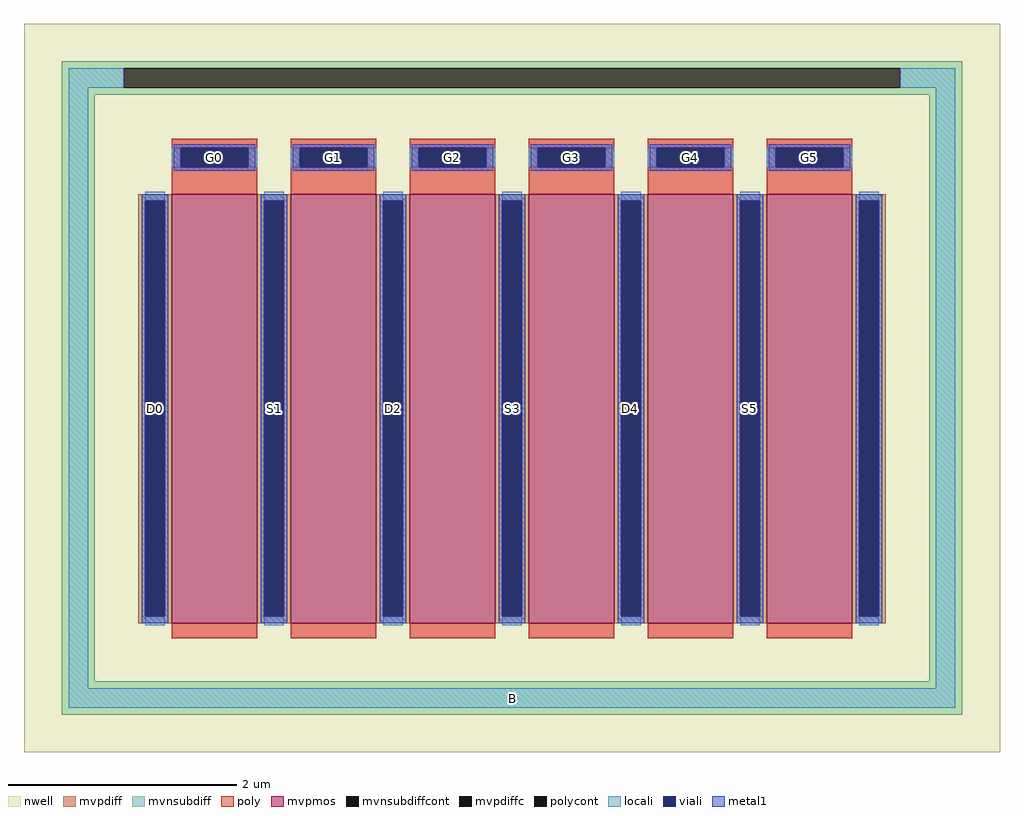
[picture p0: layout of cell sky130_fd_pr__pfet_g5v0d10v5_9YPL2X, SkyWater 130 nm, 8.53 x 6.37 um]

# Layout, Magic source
magic
tech sky130A
magscale 1 2
<< nwell >>
rect -853 -637 853 637
<< mvpmos >>
rect -595 -411 -445 339
rect -387 -411 -237 339
rect -179 -411 -29 339
rect 29 -411 179 339
rect 237 -411 387 339
rect 445 -411 595 339
<< mvpdiff >>
rect -653 327 -595 339
rect -653 -399 -641 327
rect -607 -399 -595 327
rect -653 -411 -595 -399
rect -445 327 -387 339
rect -445 -399 -433 327
rect -399 -399 -387 327
rect -445 -411 -387 -399
rect -237 327 -179 339
rect -237 -399 -225 327
rect -191 -399 -179 327
rect -237 -411 -179 -399
rect -29 327 29 339
rect -29 -399 -17 327
rect 17 -399 29 327
rect -29 -411 29 -399
rect 179 327 237 339
rect 179 -399 191 327
rect 225 -399 237 327
rect 179 -411 237 -399
rect 387 327 445 339
rect 387 -399 399 327
rect 433 -399 445 327
rect 387 -411 445 -399
rect 595 327 653 339
rect 595 -399 607 327
rect 641 -399 653 327
rect 595 -411 653 -399
<< mvpdiffc >>
rect -641 -399 -607 327
rect -433 -399 -399 327
rect -225 -399 -191 327
rect -17 -399 17 327
rect 191 -399 225 327
rect 399 -399 433 327
rect 607 -399 641 327
<< mvnsubdiff >>
rect -787 559 787 571
rect -787 525 -679 559
rect 679 525 787 559
rect -787 513 787 525
rect -787 -513 -729 513
rect 729 -513 787 513
rect -787 -571 787 -513
<< mvnsubdiffcont >>
rect -679 525 679 559
<< poly >>
rect -595 420 -445 436
rect -595 386 -579 420
rect -461 386 -445 420
rect -595 339 -445 386
rect -387 420 -237 436
rect -387 386 -371 420
rect -253 386 -237 420
rect -387 339 -237 386
rect -179 420 -29 436
rect -179 386 -163 420
rect -45 386 -29 420
rect -179 339 -29 386
rect 29 420 179 436
rect 29 386 45 420
rect 163 386 179 420
rect 29 339 179 386
rect 237 420 387 436
rect 237 386 253 420
rect 371 386 387 420
rect 237 339 387 386
rect 445 420 595 436
rect 445 386 461 420
rect 579 386 595 420
rect 445 339 595 386
rect -595 -437 -445 -411
rect -387 -437 -237 -411
rect -179 -437 -29 -411
rect 29 -437 179 -411
rect 237 -437 387 -411
rect 445 -437 595 -411
<< polycont >>
rect -579 386 -461 420
rect -371 386 -253 420
rect -163 386 -45 420
rect 45 386 163 420
rect 253 386 371 420
rect 461 386 579 420
<< locali >>
rect -775 525 -679 559
rect 679 525 775 559
rect -775 -525 -741 525
rect -595 386 -579 420
rect -461 386 -445 420
rect -387 386 -371 420
rect -253 386 -237 420
rect -179 386 -163 420
rect -45 386 -29 420
rect 29 386 45 420
rect 163 386 179 420
rect 237 386 253 420
rect 371 386 387 420
rect 445 386 461 420
rect 579 386 595 420
rect -641 327 -607 343
rect -641 -415 -607 -399
rect -433 327 -399 343
rect -433 -415 -399 -399
rect -225 327 -191 343
rect -225 -415 -191 -399
rect -17 327 17 343
rect -17 -415 17 -399
rect 191 327 225 343
rect 191 -415 225 -399
rect 399 327 433 343
rect 399 -415 433 -399
rect 607 327 641 343
rect 607 -415 641 -399
rect 741 -525 775 525
rect -775 -559 775 -525
<< viali >>
rect -579 386 -461 420
rect -371 386 -253 420
rect -163 386 -45 420
rect 45 386 163 420
rect 253 386 371 420
rect 461 386 579 420
rect -641 -399 -607 327
rect -433 -399 -399 327
rect -225 -399 -191 327
rect -17 -399 17 327
rect 191 -399 225 327
rect 399 -399 433 327
rect 607 -399 641 327
<< metal1 >>
rect -591 420 -449 426
rect -591 386 -579 420
rect -461 386 -449 420
rect -591 380 -449 386
rect -383 420 -241 426
rect -383 386 -371 420
rect -253 386 -241 420
rect -383 380 -241 386
rect -175 420 -33 426
rect -175 386 -163 420
rect -45 386 -33 420
rect -175 380 -33 386
rect 33 420 175 426
rect 33 386 45 420
rect 163 386 175 420
rect 33 380 175 386
rect 241 420 383 426
rect 241 386 253 420
rect 371 386 383 420
rect 241 380 383 386
rect 449 420 591 426
rect 449 386 461 420
rect 579 386 591 420
rect 449 380 591 386
rect -647 327 -601 339
rect -647 -399 -641 327
rect -607 -399 -601 327
rect -647 -411 -601 -399
rect -439 327 -393 339
rect -439 -399 -433 327
rect -399 -399 -393 327
rect -439 -411 -393 -399
rect -231 327 -185 339
rect -231 -399 -225 327
rect -191 -399 -185 327
rect -231 -411 -185 -399
rect -23 327 23 339
rect -23 -399 -17 327
rect 17 -399 23 327
rect -23 -411 23 -399
rect 185 327 231 339
rect 185 -399 191 327
rect 225 -399 231 327
rect 185 -411 231 -399
rect 393 327 439 339
rect 393 -399 399 327
rect 433 -399 439 327
rect 393 -411 439 -399
rect 601 327 647 339
rect 601 -399 607 327
rect 641 -399 647 327
rect 601 -411 647 -399
<< labels >>
rlabel mvnsubdiff 0 -542 0 -542 0 B
port 1 nsew
rlabel mvpdiffc -624 -36 -624 -36 0 D0
port 2 nsew
rlabel polycont -520 403 -520 403 0 G0
port 3 nsew
rlabel mvpdiffc -416 -36 -416 -36 0 S1
port 4 nsew
rlabel polycont -312 403 -312 403 0 G1
port 5 nsew
rlabel mvpdiffc -208 -36 -208 -36 0 D2
port 6 nsew
rlabel polycont -104 403 -104 403 0 G2
port 7 nsew
rlabel mvpdiffc 0 -36 0 -36 0 S3
port 8 nsew
rlabel polycont 104 403 104 403 0 G3
port 9 nsew
rlabel mvpdiffc 208 -36 208 -36 0 D4
port 10 nsew
rlabel polycont 312 403 312 403 0 G4
port 11 nsew
rlabel mvpdiffc 416 -36 416 -36 0 S5
port 12 nsew
rlabel polycont 520 403 520 403 0 G5
port 13 nsew
<< properties >>
string FIXED_BBOX -758 -542 758 542
string gencell sky130_fd_pr__pfet_g5v0d10v5
string library sky130
string parameters w 3.75 l 0.75 m 1 nf 6 diffcov 100 polycov 100 guard 1 glc 0 grc 0 gtc 1 gbc 0 tbcov 100 rlcov 100 topc 1 botc 0 poverlap 0 doverlap 1 lmin 0.50 wmin 0.42 class mosfet compatible {sky130_fd_pr__pfet_01v8  sky130_fd_pr__pfet_01v8_lvt sky130_fd_pr__pfet_01v8_hvt  sky130_fd_pr__pfet_g5v0d10v5} full_metal 1 conn_gates 0 viasrc 100 viadrn 100 viagate 100 viagb 0 viagr 0 viagl 0 viagt 0 doports 1
<< end >>
